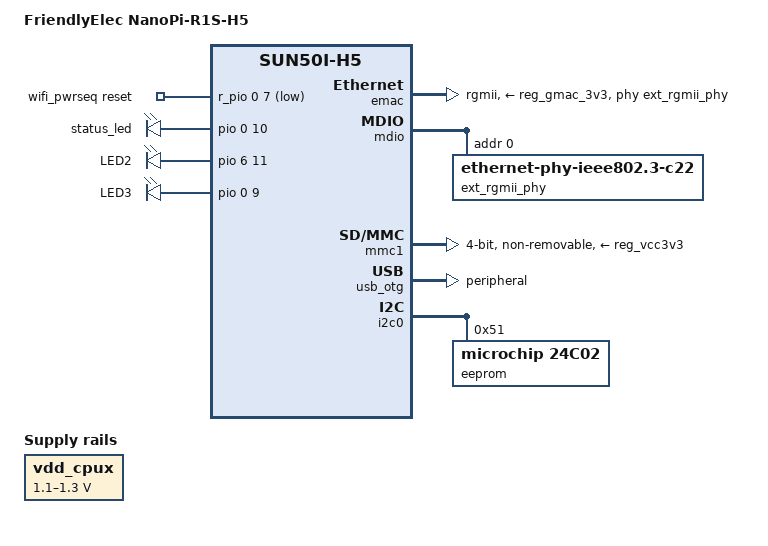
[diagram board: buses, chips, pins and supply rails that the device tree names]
/*
 * Copyright (C) 2016 ARM Ltd.
 *
 * This file is dual-licensed: you can use it either under the terms
 * of the GPL or the X11 license, at your option. Note that this dual
 * licensing only applies to this file, and not this project as a
 * whole.
 *
 *  a) This file is free software; you can redistribute it and/or
 *     modify it under the terms of the GNU General Public License as
 *     published by the Free Software Foundation; either version 2 of the
 *     License, or (at your option) any later version.
 *
 *     This file is distributed in the hope that it will be useful,
 *     but WITHOUT ANY WARRANTY; without even the implied warranty of
 *     MERCHANTABILITY or FITNESS FOR A PARTICULAR PURPOSE.  See the
 *     GNU General Public License for more details.
 *
 * Or, alternatively,
 *
 *  b) Permission is hereby granted, free of charge, to any person
 *     obtaining a copy of this software and associated documentation
 *     files (the "Software"), to deal in the Software without
 *     restriction, including without limitation the rights to use,
 *     copy, modify, merge, publish, distribute, sublicense, and/or
 *     sell copies of the Software, and to permit persons to whom the
 *     Software is furnished to do so, subject to the following
 *     conditions:
 *
 *     The above copyright notice and this permission notice shall be
 *     included in all copies or substantial portions of the Software.
 *
 *     THE SOFTWARE IS PROVIDED "AS IS", WITHOUT WARRANTY OF ANY KIND,
 *     EXPRESS OR IMPLIED, INCLUDING BUT NOT LIMITED TO THE WARRANTIES
 *     OF MERCHANTABILITY, FITNESS FOR A PARTICULAR PURPOSE AND
 *     NONINFRINGEMENT. IN NO EVENT SHALL THE AUTHORS OR COPYRIGHT
 *     HOLDERS BE LIABLE FOR ANY CLAIM, DAMAGES OR OTHER LIABILITY,
 *     WHETHER IN AN ACTION OF CONTRACT, TORT OR OTHERWISE, ARISING
 *     FROM, OUT OF OR IN CONNECTION WITH THE SOFTWARE OR THE USE OR
 *     OTHER DEALINGS IN THE SOFTWARE.
 */

#include "sun50i-h5-nanopi.dtsi"

/ {
	model = "FriendlyElec NanoPi-R1S-H5";
	compatible = "friendlyelec,nanopi-r1s-h5", "allwinner,sun50i-h5";

	vdd_cpux: gpio-regulator {
		compatible = "regulator-gpio";

		regulator-name = "vdd-cpux";
		regulator-type = "voltage";
		regulator-boot-on;
		regulator-always-on;
		regulator-min-microvolt = <1100000>;
		regulator-max-microvolt = <1300000>;
		regulator-ramp-delay = <50>; /* 4ms */

		gpios = <&r_pio 0 6 GPIO_ACTIVE_HIGH>;
		gpios-states = <0x1>;
		states = <1100000 0x0
			  1300000 0x1>;
	};
	
	wifi_pwrseq: wifi_pwrseq {
		compatible = "mmc-pwrseq-simple";
		pinctrl-names = "default";
		pinctrl-0 = <&wifi_en_npi>;
		reset-gpios = <&r_pio 0 7 GPIO_ACTIVE_LOW>; /* PL7 */
		post-power-on-delay-ms = <200>;
	};
	
	leds {
		/delete-node/ status;
		/delete-node/ pwr;
		status {
			label = "status_led";
			gpios = <&pio 0 10 GPIO_ACTIVE_HIGH>;
			linux,default-trigger = "heartbeat";
		};

		led2 {
			label = "LED2";
			gpios = <&pio 6 11 GPIO_ACTIVE_HIGH>;
			default-state = "off";
			linux,default-trigger = "netdev";
		};

		led3 {
			label = "LED3";
			gpios = <&pio 0 9 GPIO_ACTIVE_HIGH>;
			default-state = "off";
			linux,default-trigger = "netdev";
		};
	};
};

&cpu0 {
	operating-points = <
		1248000 1300000
		1008000	1100000
		816000	1100000
		624000	1100000
		480000	1100000
		>;
	#cooling-cells = <2>;
	cooling-min-level = <0>;
	cooling-max-level = <4>;
	cpu0-supply = <&vdd_cpux>;
};

&cpu_thermal {
	trips {
		cpu_warm: cpu_warm {
			temperature = <60000>;
			hysteresis = <2000>;
			type = "passive";
		};
		cpu_hot: cpu_hot {
			temperature = <70000>;
			hysteresis = <2000>;
			type = "passive";
		};
		cpu_very_hot: cpu_very_hot {
			temperature = <80000>;
			hysteresis = <2000>;
			type = "passive";
		};
		cpu_alert_hot: cpu_alert_hot {
			temperature = <90000>;
			hysteresis = <2000>;
			type = "passive";
		};
		cpu_crit: cpu_crit {
			temperature = <100000>;
			hysteresis = <2000>;
			type = "critical";
		};
	};

	cooling-maps {
		cpu_warm_limit_cpu {
			trip = <&cpu_warm>;
			cooling-device = <&cpu0 THERMAL_NO_LIMIT 1>;
		};
		cpu_hot_limit_cpu {
			trip = <&cpu_hot>;
			cooling-device = <&cpu0 THERMAL_NO_LIMIT 2>;
		};
		cpu_very_hot_limit_cpu {
			trip = <&cpu_very_hot>;
			cooling-device = <&cpu0 THERMAL_NO_LIMIT 3>;
		};
		cpu_alert_hot_limit_cpu {
			trip = <&cpu_alert_hot>;
			cooling-device = <&cpu0 4 THERMAL_NO_LIMIT>;
		};
	};
};

&emac {
	pinctrl-names = "default";
	pinctrl-0 = <&emac_rgmii_pins>;
	phy-supply = <&reg_gmac_3v3>;
	phy-handle = <&ext_rgmii_phy>;
	phy-mode = "rgmii";
	allwinner,leds-active-low;
	status = "okay";
};

&mdio {
	ext_rgmii_phy: ethernet-phy@1 {
		compatible = "ethernet-phy-ieee802.3-c22";
		reg = <0>;
	};
};

&mmc1 {
	pinctrl-names = "default";
	pinctrl-0 = <&mmc1_pins_a>;
	vmmc-supply = <&reg_vcc3v3>;
	vqmmc-supply = <&reg_vcc3v3>;
	mmc-pwrseq = <&wifi_pwrseq>;
	bus-width = <4>;
	non-removable;
	status = "okay";
};

&r_pio {
	wifi_en_npi: wifi_en_pin {
		pins = "PL7";
		function = "gpio_out";
    };
};

&usb_otg {
	dr_mode = "peripheral";
	status = "okay";
};

&i2c0 {
	status = "okay";

	eeprom@51 {
		compatible = "microchip,24c02";
		reg = <0x51>;
		pagesize = <16>;
	};
};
